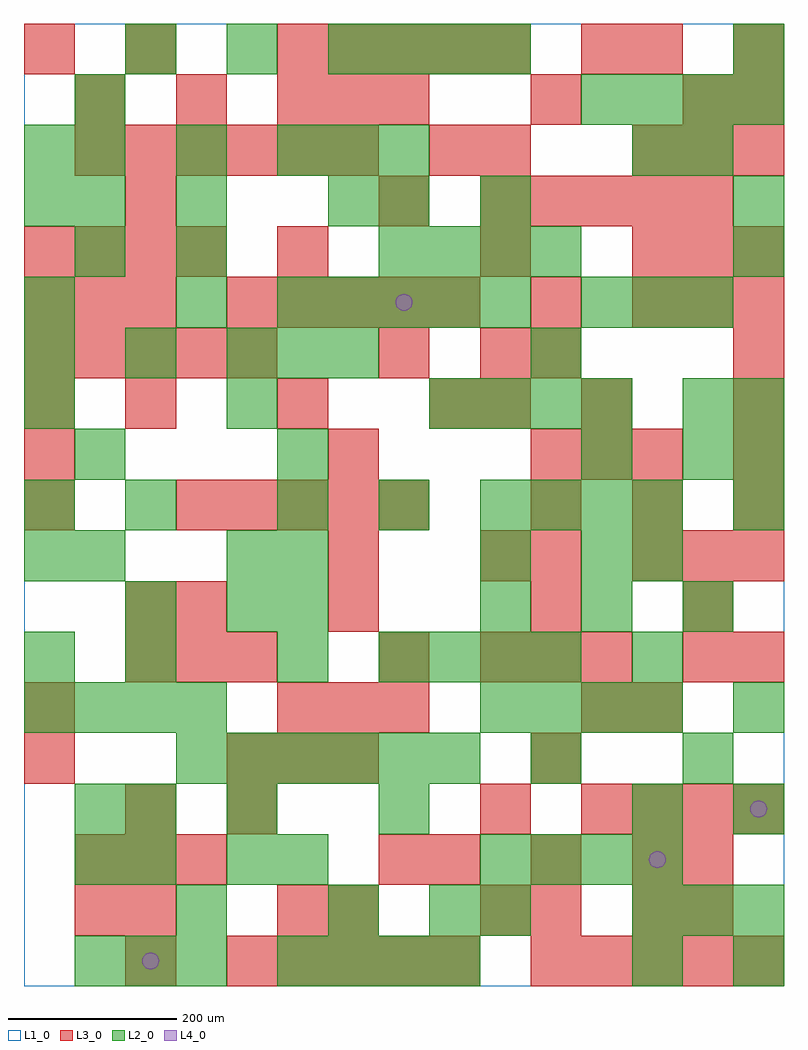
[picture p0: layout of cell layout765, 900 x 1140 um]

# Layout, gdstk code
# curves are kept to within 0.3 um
import gdstk
lib = gdstk.Library(unit=1e-6, precision=1e-09)
def R(c, l, rs):  # rectangles x0, y0, x1, y1
    for r in rs: c.add(gdstk.rectangle(r[:2], r[2:], *l))
def A(c, l, x, y, w, h, nx, ny, dx, dy):  # array of equal rectangles
    R(c, l, [(x+i*dx, y+j*dy, x+i*dx+w, y+j*dy+h) for i in range(nx) for j in range(ny)])
def P(c, l, *ps):  # polygons
    for p in ps: c.add(gdstk.Polygon(p, *l))
L1_0 = (1, 0)
L2_0 = (2, 0)
L3_0 = (3, 0)
L4_0 = (4, 0)

layout765 = lib.new_cell('layout765')
R(layout765, L1_0, [(0,0,900,1140)])
A(layout765, L2_0, 60, 0, 60, 60, 3, 1, 60, 0)
A(layout765, L2_0, 300, 0, 60, 60, 4, 1, 60, 0)
A(layout765, L2_0, 720, 0, 60, 60, 1, 3, 0, 180)
A(layout765, L2_0, 540, 60, 60, 60, 1, 3, 0, 420)
A(layout765, L2_0, 720, 60, 60, 60, 3, 1, 60, 0)
A(layout765, L2_0, 540, 120, 60, 60, 4, 2, 60, 180)
A(layout765, L2_0, 180, 240, 60, 60, 6, 1, 60, 0)
A(layout765, L2_0, 0, 300, 60, 60, 4, 1, 60, 0)
A(layout765, L2_0, 300, 360, 60, 60, 1, 3, 0, 60)
A(layout765, L2_0, 420, 360, 60, 60, 4, 2, 60, 480)
A(layout765, L2_0, 540, 420, 60, 60, 3, 1, 120, 0)
A(layout765, L2_0, 300, 540, 60, 60, 3, 1, 120, 0)
A(layout765, L2_0, 600, 540, 60, 60, 3, 1, 60, 0)
A(layout765, L2_0, 840, 540, 60, 60, 1, 3, 0, 60)
A(layout765, L2_0, 0, 660, 60, 60, 3, 1, 240, 0)
A(layout765, L2_0, 540, 660, 60, 60, 3, 1, 60, 0)
A(layout765, L2_0, 0, 720, 60, 60, 3, 1, 120, 0)
A(layout765, L2_0, 180, 780, 60, 60, 1, 3, 0, 60)
A(layout765, L2_0, 300, 780, 60, 60, 5, 1, 60, 0)
A(layout765, L2_0, 660, 780, 60, 60, 3, 1, 60, 0)
A(layout765, L2_0, 60, 960, 60, 60, 3, 1, 120, 0)
A(layout765, L2_0, 660, 1020, 60, 60, 4, 1, 60, 0)
A(layout765, L2_0, 120, 1080, 60, 60, 3, 1, 120, 0)
A(layout765, L2_0, 420, 1080, 60, 60, 3, 1, 60, 0)
R(layout765, L2_0, [(840,0,900,60), (180,60,240,120), (360,60,420,120), (480,60,540,120), (60,120,120,180), (120,120,180,180), (240,120,300,180), (300,120,360,180), (60,180,120,240), (120,180,180,240), (240,180,300,240), (420,180,480,240), (840,180,900,240), (600,240,660,300), (780,240,840,300), (840,300,900,360), (0,360,60,420), (120,360,180,420), (120,420,180,480), (240,420,300,480), (0,480,60,540), (60,480,120,540), (240,480,300,540), (660,480,720,540), (720,480,780,540), (0,540,60,600), (120,540,180,600), (60,600,120,660), (300,600,360,660), (660,600,720,660), (780,600,840,660), (780,660,840,720), (300,720,360,780), (360,720,420,780), (600,720,660,780), (0,780,60,840), (60,840,120,900), (840,840,900,900), (0,900,60,960), (60,900,120,960), (360,900,420,960), (420,900,480,960), (840,900,900,960), (0,960,60,1020), (360,960,420,1020), (420,960,480,1020), (720,960,780,1020), (780,960,840,1020), (60,1020,120,1080), (840,1080,900,1140)])
A(layout765, L3_0, 240, 0, 60, 60, 5, 2, 60, 780)
A(layout765, L3_0, 600, 0, 60, 60, 5, 1, 60, 0)
A(layout765, L3_0, 600, 60, 60, 60, 1, 3, 0, 180)
A(layout765, L3_0, 60, 120, 60, 60, 3, 1, 60, 0)
A(layout765, L3_0, 480, 120, 60, 60, 3, 1, 120, 0)
A(layout765, L3_0, 660, 180, 60, 60, 4, 1, 60, 0)
A(layout765, L3_0, 240, 240, 60, 60, 3, 1, 60, 0)
A(layout765, L3_0, 300, 300, 60, 60, 3, 1, 60, 0)
A(layout765, L3_0, 120, 360, 60, 60, 3, 1, 60, 0)
A(layout765, L3_0, 540, 360, 60, 60, 3, 1, 60, 0)
A(layout765, L3_0, 720, 480, 60, 60, 3, 2, 60, 300)
A(layout765, L3_0, 0, 540, 60, 60, 1, 3, 0, 60)
A(layout765, L3_0, 180, 540, 60, 60, 5, 1, 60, 0)
A(layout765, L3_0, 600, 540, 60, 60, 3, 1, 120, 0)
A(layout765, L3_0, 600, 600, 60, 60, 3, 1, 60, 0)
A(layout765, L3_0, 840, 600, 60, 60, 1, 3, 0, 60)
A(layout765, L3_0, 120, 660, 60, 60, 3, 1, 180, 0)
A(layout765, L3_0, 0, 720, 60, 60, 5, 1, 60, 0)
A(layout765, L3_0, 540, 720, 60, 60, 1, 3, 0, 120)
A(layout765, L3_0, 0, 780, 60, 60, 3, 1, 60, 0)
A(layout765, L3_0, 0, 840, 60, 60, 4, 1, 60, 0)
A(layout765, L3_0, 720, 840, 60, 60, 3, 2, 60, 120)
A(layout765, L3_0, 540, 900, 60, 60, 5, 1, 60, 0)
A(layout765, L3_0, 60, 960, 60, 60, 6, 1, 60, 0)
A(layout765, L3_0, 60, 1020, 60, 60, 3, 1, 120, 0)
A(layout765, L3_0, 420, 1020, 60, 60, 3, 1, 180, 0)
A(layout765, L3_0, 300, 1080, 60, 60, 5, 1, 60, 0)
R(layout765, L3_0, [(120,0,180,60), (60,60,120,120), (120,60,180,120), (300,60,360,120), (360,60,420,120), (540,60,600,120), (720,60,780,120), (780,60,840,120), (420,120,480,180), (780,120,840,180), (120,180,180,240), (240,180,300,240), (540,180,600,240), (0,240,60,300), (0,300,60,360), (660,300,720,360), (720,300,780,360), (420,360,480,420), (780,360,840,420), (840,360,900,420), (120,420,180,480), (180,420,240,480), (360,420,420,480), (780,420,840,480), (360,480,420,540), (540,480,600,540), (600,480,660,540), (360,600,420,660), (540,660,600,720), (660,660,720,720), (420,720,480,780), (600,720,660,780), (600,780,660,840), (300,840,360,900), (120,900,180,960), (420,900,480,960), (480,960,540,1020), (360,1020,420,1080), (840,1020,900,1080), (0,1080,60,1140), (120,1080,180,1140), (660,1080,720,1140), (720,1080,780,1140), (840,1080,900,1140)])
P(layout765, L4_0, [(160,30),(159.239,33.827),(157.071,37.071),(153.827,39.239),(150,40),(146.173,39.239),(142.929,37.071),(140.761,33.827),(140,30),(140.761,26.173),(142.929,22.929),(146.173,20.761),(150,20),(153.827,20.761),(157.071,22.929),(159.239,26.173)],
  [(460,810),(459.239,813.827),(457.071,817.071),(453.827,819.239),(450,820),(446.173,819.239),(442.929,817.071),(440.761,813.827),(440,810),(440.761,806.173),(442.929,802.929),(446.173,800.761),(450,800),(453.827,800.761),(457.071,802.929),(459.239,806.173)],
  [(760,150),(759.239,153.827),(757.071,157.071),(753.827,159.239),(750,160),(746.173,159.239),(742.929,157.071),(740.761,153.827),(740,150),(740.761,146.173),(742.929,142.929),(746.173,140.761),(750,140),(753.827,140.761),(757.071,142.929),(759.239,146.173)],
  [(880,210),(879.239,213.827),(877.071,217.071),(873.827,219.239),(870,220),(866.173,219.239),(862.929,217.071),(860.761,213.827),(860,210),(860.761,206.173),(862.929,202.929),(866.173,200.761),(870,200),(873.827,200.761),(877.071,202.929),(879.239,206.173)])

lib.write_gds('layout765.gds')
